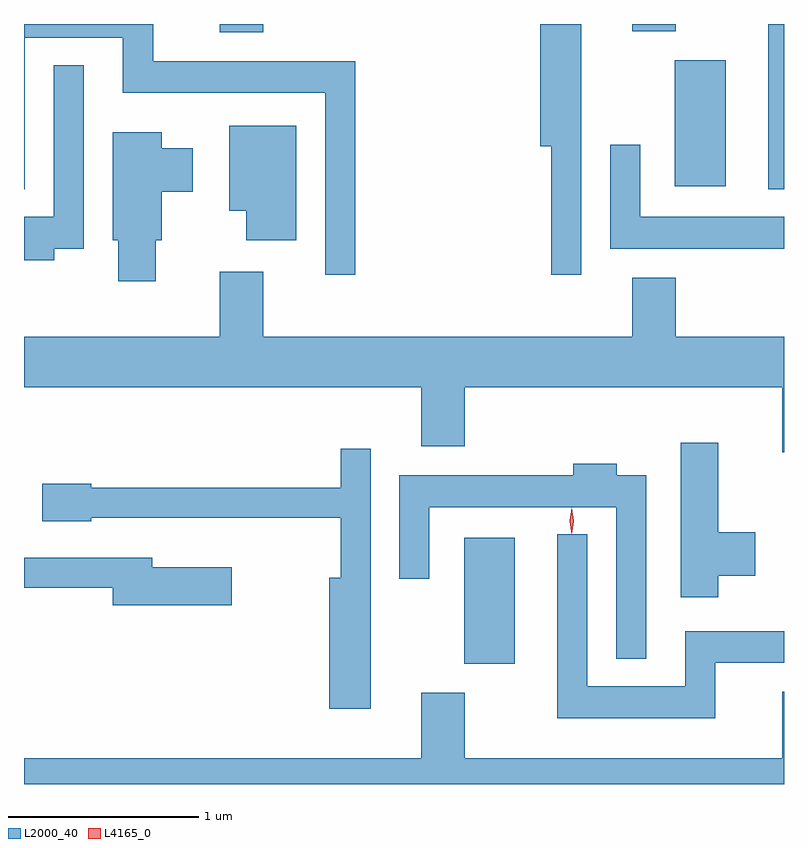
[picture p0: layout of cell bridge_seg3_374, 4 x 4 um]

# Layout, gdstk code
import gdstk
lib = gdstk.Library(unit=1e-6, precision=1e-09)
def R(c, l, rs):  # rectangles x0, y0, x1, y1
    for r in rs: c.add(gdstk.rectangle(r[:2], r[2:], *l))
def P(c, l, *ps):  # polygons
    for p in ps: c.add(gdstk.Polygon(p, *l))
L2000_40 = (2000, 40)
L4165_0 = (4165, 0)

bridge_seg3_374 = lib.new_cell('bridge_seg3_374')
R(bridge_seg3_374, L2000_40, [(549.746,1200.041,550.014,1200.704), (551.346,1202.538,551.43,1203.409), (550.856,1202.556,551.124,1203.219), (548.461,1203.366,548.689,1203.409), (550.631,1203.371,550.859,1203.409)])
P(bridge_seg3_374, L2000_40, [(549.174,1203.214),(548.109,1203.214),(548.109,1203.409),(547.43,1203.409),(547.43,1202.538),(547.434,1202.538),(547.434,1203.336),(547.951,1203.336),(547.951,1203.046),(549.016,1203.046),(549.016,1202.088),(549.174,1202.088)],
  [(550.364,1203.409),(550.146,1203.409),(550.146,1202.766),(550.206,1202.766),(550.206,1202.088),(550.364,1202.088)],
  [(547.589,1202.226),(547.744,1202.226),(547.744,1203.193),(547.586,1203.193),(547.586,1202.394),(547.43,1202.394),(547.43,1202.166),(547.589,1202.166)],
  [(548.864,1202.874),(548.511,1202.874),(548.511,1202.426),(548.601,1202.426),(548.601,1202.271),(548.864,1202.271)],
  [(548.124,1202.271),(548.154,1202.271),(548.154,1202.526),(548.319,1202.526),(548.319,1202.754),(548.154,1202.754),(548.154,1202.839),(547.896,1202.839),(547.896,1202.271),(547.926,1202.271),(547.926,1202.056),(548.124,1202.056)],
  [(551.43,1202.394),(550.674,1202.394),(550.674,1202.773),(550.516,1202.773),(550.516,1202.226),(551.43,1202.226)],
  [(551.43,1201.764),(550.859,1201.764),(550.859,1202.074),(550.631,1202.074),(550.631,1201.764),(548.689,1201.764),(548.689,1202.104),(548.461,1202.104),(548.461,1201.764),(547.43,1201.764),(547.43,1201.496),(549.521,1201.496),(549.521,1201.186),(549.749,1201.186),(549.749,1201.496),(551.421,1201.496),(551.421,1201.156),(551.43,1201.156)],
  [(551.084,1200.506),(551.279,1200.506),(551.279,1200.734),(551.084,1200.734),(551.084,1201.204),(550.886,1201.204),(550.886,1200.391),(551.084,1200.391)],
  [(549.254,1201.173),(549.096,1201.173),(549.096,1200.969),(547.784,1200.969),(547.784,1200.989),(547.526,1200.989),(547.526,1200.791),(547.784,1200.791),(547.784,1200.811),(549.096,1200.811),(549.096,1200.494),(549.036,1200.494),(549.036,1199.806),(549.254,1199.806)],
  [(550.704,1201.034),(550.549,1201.034),(550.549,1201.094),(550.321,1201.094),(550.321,1201.034),(549.406,1201.034),(549.406,1200.488),(549.564,1200.488),(549.564,1200.866),(550.546,1200.866),(550.546,1200.068),(550.704,1200.068)],
  [(551.069,1200.046),(551.43,1200.046),(551.43,1200.214),(550.911,1200.214),(550.911,1199.924),(550.394,1199.924),(550.394,1200.723),(550.236,1200.723),(550.236,1199.756),(551.069,1199.756)],
  [(548.524,1200.549),(548.104,1200.549),(548.104,1200.599),(547.43,1200.599),(547.43,1200.441),(547.896,1200.441),(547.896,1200.351),(548.524,1200.351)],
  [(551.43,1199.894),(551.421,1199.894),(551.421,1199.544),(549.749,1199.544),(549.749,1199.889),(549.521,1199.889),(549.521,1199.544),(547.43,1199.544),(547.43,1199.409),(551.43,1199.409)])
P(bridge_seg3_374, L4165_0, [(550.313,1200.727),(550.313,1200.727),(550.303,1200.794),(550.312,1200.86),(550.313,1200.86),(550.313,1200.86),(550.323,1200.794),(550.314,1200.727)],
  [(550.312,1200.724),(550.303,1200.793),(550.312,1200.862),(550.313,1200.863),(550.313,1200.862),(550.323,1200.793),(550.313,1200.724),(550.313,1200.724)])

lib.write_gds('bridge_seg3_374.gds')
